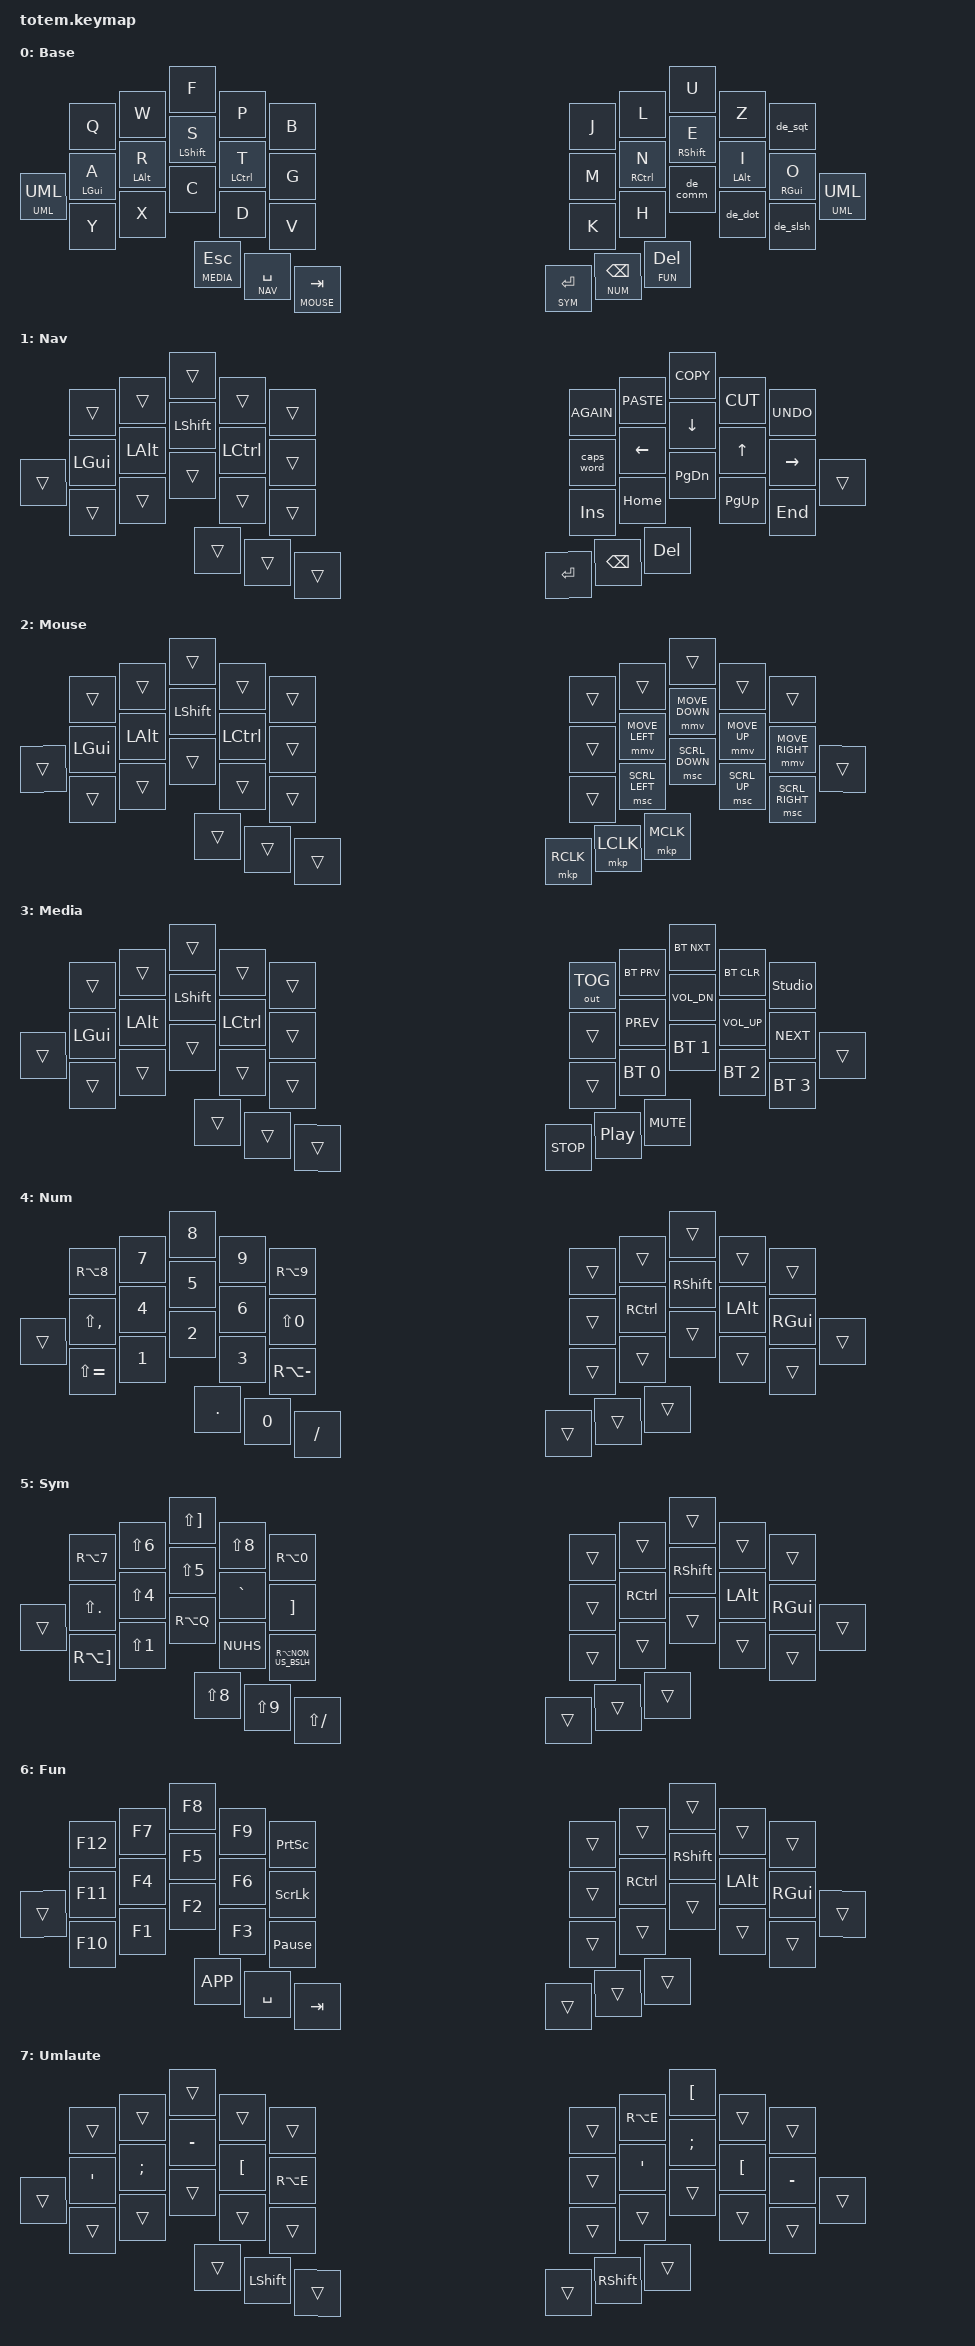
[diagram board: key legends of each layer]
//
//                                                        ▀▀▀▀▀     ▀▀▀▀▀          ▀▀█▀▀
//                                                        ▄▀▀▀▄  ▄  ▄▀▀▀▄  ▄  ▄▀▀▀▄  █  ▄▀▀▀▄
//                                                        █   █  █  █   █  █  █   █  █  █   █
//                                                         ▀▀▀   █   ▀▀▀   █   ▀▀▀   ▀   ▀▀▀
//                                                               █      ▄▄▄█▄▄▄    █   █
//                                                               ▀      █  █  █     █▄█
//                                                             ▀▀▀▀▀    █  █  █      ▀
//                                                                      ▀  ▀  ▀
//
// ▄▄▄▄▄▄▄▄▄▄▄▄▄▄▄▄▄▄▄▄▄▄▄▄▄▄▄▄▄▄▄▄▄▄▄▄▄▄▄▄▄▄▄▄▄▄▄▄▄▄▄▄▄▄▄▄▄▄▄▄▄▄▄▄▄▄▄▄▄▄▄▄▄▄▄▄▄▄▄▄▄▄▄▄▄▄▄▄▄▄▄▄▄▄▄▄▄▄▄▄▄▄▄▄▄▄▄▄▄▄▄▄▄▄▄▄▄▄▄▄▄▄▄▄▄▄▄▄▄▄▄▄▄▄▄▄▄▄▄▄▄▄▄▄▄▄▄▄▄

#include <behaviors.dtsi>
#include <dt-bindings/zmk/keys.h>
#include <dt-bindings/zmk/bt.h>
#include <dt-bindings/zmk/outputs.h>

// Mouse-Geschwindigkeiten für Miryoku Mouse-Layer (VOR pointing.h definieren!)
#define ZMK_POINTING_DEFAULT_MOVE_VAL 1500  // Flüssige Zeigergeschwindigkeit
#define ZMK_POINTING_DEFAULT_SCRL_VAL 20    // Angenehmes Scrollen
#include <dt-bindings/zmk/pointing.h>

// =========================================================================
// DEUTSCHE QWERTZ-ÜBERSETZUNG FÜR WINDOWS
// (Sorgt dafür, dass Colemak-DH & US-Miryoku-Symbole unter Windows DE stimmen)
// =========================================================================
#define DE_Y    Z               // Sendet DE-'Y'
#define DE_Z    Y               // Sendet DE-'Z'
#define DE_AE   SQT             // ä / Ä
#define DE_OE   SEMI            // ö / Ö
#define DE_UE   LBKT            // ü / Ü
#define DE_SS   MINUS           // ß
#define DE_EURO RA(E)           // €

// Satzzeichen & Programmier-Symbole (auf DE-QWERTZ gemappt)
#define DE_MINS SLASH           // -
#define DE_UNDS LS(SLASH)       // _
#define DE_PLUS RBKT            // +
#define DE_STAR LS(RBKT)        // *
#define DE_EQL  LS(N0)          // =
#define DE_SLSH LS(N7)          // /
#define DE_BSLS RA(MINUS)       // \ (AltGr + ß)
#define DE_PIPE RA(NON_US_BSLH) // | (AltGr + <)
#define DE_LT   NON_US_BSLH     // <
#define DE_GT   LS(NON_US_BSLH) // >
#define DE_LPAR LS(N8)          // (
#define DE_RPAR LS(N9)          // )
#define DE_LBKT RA(N8)          // [
#define DE_RBKT RA(N9)          // ]
#define DE_LBRC RA(N7)          // {
#define DE_RBRC RA(N0)          // }
#define DE_SEMI LS(COMMA)       // ;
#define DE_COLN LS(DOT)         // :
#define DE_SQT  LS(NUHS)        // '
#define DE_DQT  LS(N2)          // "
#define DE_GRAV LS(EQUAL)       // `
#define DE_TILD RA(RBKT)        // ~
#define DE_EXCL LS(N1)          // !
#define DE_AT   RA(Q)           // @
#define DE_HASH NUHS            // #
#define DE_DLLR LS(N4)          // $
#define DE_PRCNT LS(N5)         // %
#define DE_CARET GRAVE          // ^
#define DE_AMPS LS(N6)          // &
#define DE_QMARK LS(MINUS)      // ?

// Layer-Nummern (Miryoku Standard + Umlaut-Layer)
#define BASE  0
#define NAV   1
#define MOUSE 2
#define MEDIA 3
#define NUM   4
#define SYM   5
#define FUN   6
#define UML   7

&sk {
    release-after-ms = <2000>;
    quick-release;
};

&sl {
    release-after-ms = <2000>;
};

/ {
    behaviors {
        // Optimierte "Timeless" Home Row Mods (GASC: GUI, Alt, Shift, Ctrl)
        hm: homerow_mods {
            compatible = "zmk,behavior-hold-tap";
            #binding-cells = <2>;
            tapping-term-ms = <200>;
            quick-tap-ms = <175>;
            require-prior-idle-ms = <150>;
            flavor = "balanced";
            bindings = <&kp>, <&kp>;
        };

        // Daumen Layer-Tap mit Quick-Tap (Doppeltippen + Halten wiederholt z.B. Backspace/Space)
        lt_q: layer_tap_quick {
            compatible = "zmk,behavior-hold-tap";
            #binding-cells = <2>;
            tapping-term-ms = <200>;
            quick-tap-ms = <175>;
            flavor = "balanced";
            bindings = <&mo>, <&kp>;
        };

        // Spezial-Behavior für die 2 äußeren Pinky-Tasten:
        // Antippen = Aktiviert Umlaute für den nächsten Tastendruck (Sticky Layer)
        // Halten   = Aktiviert Umlaute solange gehalten
        uml_key: umlaut_layer_key {
            compatible = "zmk,behavior-hold-tap";
            #binding-cells = <2>;
            tapping-term-ms = <200>;
            flavor = "hold-preferred";
            bindings = <&mo>, <&sl>;
        };

        // Korrigierter Punkt & Komma für DE-QWERTZ:
        // Normal = , / . | Mit Shift = < / > (wie im US-Miryoku Standard!)
        de_comm: de_comma_morph {
            compatible = "zmk,behavior-mod-morph";
            #binding-cells = <0>;
            bindings = <&kp COMMA>, <&kp DE_LT>;
            mods = <(MOD_LSFT|MOD_RSFT)>;
        };

        de_dot: de_dot_morph {
            compatible = "zmk,behavior-mod-morph";
            #binding-cells = <0>;
            bindings = <&kp DOT>, <&kp DE_GT>;
            mods = <(MOD_LSFT|MOD_RSFT)>;
        };

        de_slsh: de_slash_morph {
            compatible = "zmk,behavior-mod-morph";
            #binding-cells = <0>;
            bindings = <&kp DE_SLSH>, <&kp DE_QMARK>;
            mods = <(MOD_LSFT|MOD_RSFT)>;
        };

        de_sqt: de_sqt_morph {
            compatible = "zmk,behavior-mod-morph";
            #binding-cells = <0>;
            bindings = <&kp DE_SQT>, <&kp DE_DQT>;
            mods = <(MOD_LSFT|MOD_RSFT)>;
        };
    };

    keymap {
        compatible = "zmk,keymap";

        // 0: BASE (Miryoku Colemak-DH, übersetzt für Windows DE-QWERTZ)
        // Die 2 äußeren Tasten aktivieren den UML-Layer (Antippen oder Halten)
        base_layer {
            display-name = "Base";
            bindings = <
                         &kp Q       &kp W       &kp F        &kp P        &kp B            &kp J        &kp L        &kp U        &kp DE_Y    &de_sqt
                         &hm LGUI A  &hm LALT R  &hm LSHFT S  &hm LCTRL T  &kp G            &kp M        &hm RCTRL N  &hm RSHFT E  &hm LALT I  &hm RGUI O
            &uml_key UML UML &kp DE_Z &kp X      &kp C        &kp D        &kp V            &kp K        &kp H        &de_comm     &de_dot     &de_slsh    &uml_key UML UML
                                                 &lt_q MEDIA ESC &lt_q NAV SPACE &lt_q MOUSE TAB  &lt_q SYM RET &lt_q NUM BSPC &lt_q FUN DEL
            >;
        };

        // 1: NAV (Miryoku Navigation auf der rechten Hand)
        nav_layer {
            display-name = "Nav";
            bindings = <
                         &trans      &trans      &trans       &trans       &trans           &kp K_AGAIN  &kp K_PASTE  &kp K_COPY   &kp K_CUT   &kp K_UNDO
                         &kp LGUI    &kp LALT    &kp LSHFT    &kp LCTRL    &trans           &caps_word   &kp LEFT     &kp DOWN     &kp UP      &kp RIGHT
            &trans       &trans      &trans      &trans       &trans       &trans           &kp INS      &kp HOME     &kp PG_DN    &kp PG_UP   &kp END     &trans
                                                 &trans       &trans       &trans           &kp RET      &kp BSPC     &kp DEL
            >;
        };

        // 2: MOUSE (Miryoku Mouse Navigation & Scrollen auf der rechten Hand)
        mouse_layer {
            display-name = "Mouse";
            bindings = <
                         &trans      &trans      &trans       &trans       &trans           &trans       &trans       &trans       &trans      &trans
                         &kp LGUI    &kp LALT    &kp LSHFT    &kp LCTRL    &trans           &trans       &mmv MOVE_LEFT &mmv MOVE_DOWN &mmv MOVE_UP &mmv MOVE_RIGHT
            &trans       &trans      &trans      &trans       &trans       &trans           &trans       &msc SCRL_LEFT &msc SCRL_DOWN &msc SCRL_UP &msc SCRL_RIGHT &trans
                                                 &trans       &trans       &trans           &mkp RCLK    &mkp LCLK    &mkp MCLK
            >;
        };

        // 3: MEDIA (Miryoku Media & Bluetooth-Steuerung auf der rechten Hand)
        media_layer {
            display-name = "Media";
            bindings = <
                         &trans      &trans      &trans       &trans       &trans           &out OUT_TOG &bt BT_PRV   &bt BT_NXT   &bt BT_CLR  &studio_unlock
                         &kp LGUI    &kp LALT    &kp LSHFT    &kp LCTRL    &trans           &trans       &kp C_PREV   &kp C_VOL_DN &kp C_VOL_UP &kp C_NEXT
            &trans       &trans      &trans      &trans       &trans       &trans           &trans       &bt BT_SEL 0 &bt BT_SEL 1 &bt BT_SEL 2 &bt BT_SEL 3 &trans
                                                 &trans       &trans       &trans           &kp C_STOP   &kp C_PP     &kp C_MUTE
            >;
        };

        // 4: NUM (Miryoku Zahlenblock auf der linken Hand)
        num_layer {
            display-name = "Num";
            bindings = <
                         &kp DE_LBKT &kp N7      &kp N8       &kp N9       &kp DE_RBKT      &trans       &trans       &trans       &trans      &trans
                         &kp DE_SEMI &kp N4      &kp N5       &kp N6       &kp DE_EQL       &trans       &kp RCTRL    &kp RSHFT    &kp LALT    &kp RGUI
            &trans       &kp DE_GRAV &kp N1      &kp N2       &kp N3       &kp DE_BSLS      &trans       &trans       &trans       &trans      &trans      &trans
                                                 &kp DOT      &kp N0       &kp DE_MINS      &trans       &trans       &trans
            >;
        };

        // 5: SYM (Miryoku Symbole auf der linken Hand, DE-QWERTZ übersetzt)
        sym_layer {
            display-name = "Sym";
            bindings = <
                         &kp DE_LBRC &kp DE_AMPS &kp DE_STAR  &kp DE_LPAR  &kp DE_RBRC      &trans       &trans       &trans       &trans      &trans
                         &kp DE_COLN &kp DE_DLLR &kp DE_PRCNT &kp DE_CARET &kp DE_PLUS      &trans       &kp RCTRL    &kp RSHFT    &kp LALT    &kp RGUI
            &trans       &kp DE_TILD &kp DE_EXCL &kp DE_AT    &kp DE_HASH  &kp DE_PIPE      &trans       &trans       &trans       &trans      &trans      &trans
                                                 &kp DE_LPAR  &kp DE_RPAR  &kp DE_UNDS      &trans       &trans       &trans
            >;
        };

        // 6: FUN (Miryoku F-Tasten auf der linken Hand)
        fun_layer {
            display-name = "Fun";
            bindings = <
                         &kp F12     &kp F7      &kp F8       &kp F9       &kp PSCRN        &trans       &trans       &trans       &trans      &trans
                         &kp F11     &kp F4      &kp F5       &kp F6       &kp SLCK         &trans       &kp RCTRL    &kp RSHFT    &kp LALT    &kp RGUI
            &trans       &kp F10     &kp F1      &kp F2       &kp F3       &kp PAUSE_BREAK  &trans       &trans       &trans       &trans      &trans      &trans
                                                 &kp K_APP    &kp SPACE    &kp TAB          &trans       &trans       &trans
            >;
        };

        // 7: UML (Deutsche Umlaute & € - aktiviert über die 2 äußeren Spezialtasten)
        // Liegt sowohl links (A=Ä, O=Ö, U=Ü, S=ß) als auch rechts auf der Home-Row (N=Ä, E=Ö, I=Ü, O=ß)
        uml_layer {
            display-name = "Umlaute";
            bindings = <
                         &trans      &trans      &trans       &trans       &trans           &trans       &kp DE_EURO  &kp DE_UE    &trans      &trans
                         &kp DE_AE   &kp DE_OE   &kp DE_SS    &kp DE_UE    &kp DE_EURO      &trans       &kp DE_AE    &kp DE_OE    &kp DE_UE   &kp DE_SS
            &trans       &trans      &trans      &trans       &trans       &trans           &trans       &trans       &trans       &trans      &trans      &trans
                                                 &trans       &kp LSHFT    &trans           &trans       &kp RSHFT    &trans
            >;
        };
    };
};
